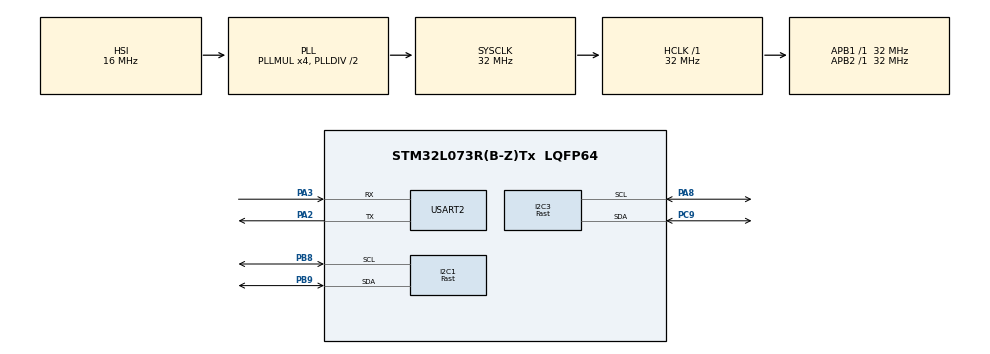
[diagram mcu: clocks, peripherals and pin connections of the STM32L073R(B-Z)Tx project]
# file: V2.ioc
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I2C1.I2C_Speed_Mode=I2C_Fast
I2C1.Timing=0x00300F38
I2C3.I2C_Speed_Mode=I2C_Fast
I2C3.Timing=0x00300F38
Mcu.Family=STM32L0
Mcu.Name=STM32L073R(B-Z)Tx
Mcu.Package=LQFP64
NVIC.TIM6_DAC_IRQn=true\:0\:0\:false\:false\:true\:true\:true\:true
PA13.Mode=Serial_Wire
PA13.Signal=SYS_SWDIO
PA14.Mode=Serial_Wire
PA14.Signal=SYS_SWCLK
PA2.Mode=Asynchronous
PA2.Signal=USART2_TX
PA3.Mode=Asynchronous
PA3.Signal=USART2_RX
PA8.Mode=I2C
PA8.Signal=I2C3_SCL
PB8.Mode=I2C
PB8.Signal=I2C1_SCL
PB9.Mode=I2C
PB9.Signal=I2C1_SDA
PC9.Mode=I2C
PC9.Signal=I2C3_SDA
PH0-OSC_IN.Mode=HSE-External-Oscillator
PH0-OSC_IN.Signal=RCC_OSC_IN
PH1-OSC_OUT.Mode=HSE-External-Oscillator
PH1-OSC_OUT.Signal=RCC_OSC_OUT
ProjectManager.HeapSize=0x200
ProjectManager.StackSize=0x400
ProjectManager.TargetToolchain=MDK-ARM V5.32
RCC.AHBFreq_Value=32000000
RCC.APB1Freq_Value=32000000
RCC.APB1TimFreq_Value=32000000
RCC.APB2Freq_Value=32000000
RCC.APB2TimFreq_Value=32000000
RCC.HCLKFreq_Value=32000000
RCC.HSE_VALUE=8000000
RCC.HSI16_VALUE=16000000
RCC.HSI48_VALUE=48000000
RCC.HSI_VALUE=16000000
RCC.LSE_VALUE=32768
RCC.MSI_VALUE=2097000
RCC.PLLMUL=RCC_PLLMUL_4
RCC.SYSCLKFreq_VALUE=32000000
RCC.SYSCLKSource=RCC_SYSCLKSOURCE_PLLCLK
RCC.VCOOutputFreq_Value=64000000
TIM6.Period=200
TIM6.Prescaler=40000
TIM7.Period=4000
TIM7.Prescaler=40000
USART2.VirtualMode-Asynchronous=VM_ASYNC
VP_TIM6_VS_ClockSourceINT.Mode=Enable_Timer
VP_TIM7_VS_ClockSourceINT.Mode=Enable_Timer
board=NUCLEO-L073RZ

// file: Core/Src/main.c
/* USER CODE BEGIN Header */
/**
  ******************************************************************************
  * @file           : main.c
  * @brief          : Main program body
  ******************************************************************************
  * @attention
  *
  * Copyright (c) 2024 STMicroelectronics.
  * All rights reserved.
  *
  * This software is licensed under terms that can be found in the LICENSE file
  * in the root directory of this software component.
  * If no LICENSE file comes with this software, it is provided AS-IS.
  *
  ******************************************************************************
  */
/* USER CODE END Header */
#include "main.h"
#include <math.h>
/* USER CODE BEGIN Includes */
	#include <stdio.h>
	#include <string.h>
	#include "i2c-lcd.h"
/* USER CODE END Includes */

I2C_HandleTypeDef hi2c1;
I2C_HandleTypeDef hi2c3;
uint8_t uart_tx_buffer[100];
TIM_HandleTypeDef htim6;
TIM_HandleTypeDef htim7;

UART_HandleTypeDef huart2;

/* USER CODE BEGIN PV */
#define UART_TIMEOUT 100
#define adxl_address 0x53<<1
/* USER CODE END PV */

void SystemClock_Config(void);
static void MX_GPIO_Init(void);
static void MX_I2C1_Init(void);
static void MX_TIM6_Init(void);
static void MX_I2C3_Init(void);
static void MX_TIM7_Init(void);
static void MX_USART2_UART_Init(void);
/* USER CODE BEGIN PFP */
//sensoriui
uint8_t data_rec[6];
int16_t x, y, z;
float xg, yg, zg; //konvertavimui is mg/LSB i g

//atvaizdavimui
char x_char[3], y_char[3], z_char[3];

void adxl_write (uint8_t reg, uint8_t value)
{
	uint8_t data [2];
	data[0] = reg;
	data[1] = value;
	HAL_I2C_Master_Transmit (&hi2c1, adxl_address, data, 2, 100);
}

//nuskaitymas
void adxl_read (uint8_t reg)
{
	HAL_I2C_Mem_Read (&hi2c1, adxl_address, reg, 1, (uint8_t *)data_rec, 6, 100);
}

void adxl_init (void)
{
	adxl_read(0x00); //icializavimas:

	adxl_write (0x2d, 0x00); //isvalo visus bitus
	adxl_write (0x2d, 0x08); //matuoja bit-1, wakeup, 0 8hz dazniu

	adxl_write (0x31, 0x01); //+-4g diapazone
}
void send_sensor_data_via_uart(float x_rms, float y_rms, float z_rms)
{
    // Format sensor data into a string
    snprintf((char *)uart_tx_buffer, sizeof(uart_tx_buffer), "X_RMS: %.2f, Y_RMS: %.2f, Z_RMS: %.2f\r\n", x_rms, y_rms, z_rms);

    // Transmit the formatted string via UART
    HAL_UART_Transmit(&huart2, uart_tx_buffer, strlen((char *)uart_tx_buffer), UART_TIMEOUT);
}

/* USER CODE END PFP */

int main(void)
{

  /* MCU Configuration--------------------------------------------------------*/

  /* Reset of all peripherals, Initializes the Flash interface and the Systick. */
  HAL_Init();

  /* Configure the system clock */
  SystemClock_Config();

  /* Initialize all configured peripherals */
  MX_GPIO_Init();
  MX_I2C1_Init();
  MX_TIM6_Init();
  MX_I2C3_Init();
  MX_TIM7_Init();
  MX_USART2_UART_Init();
  /* USER CODE BEGIN 2 */
	adxl_init();
	lcd_init();
	HAL_TIM_Base_Start_IT(&htim6);
	HAL_TIM_Base_Start_IT(&htim7);
  /* USER CODE END 2 */

  /* Infinite loop */
  /* USER CODE BEGIN WHILE */
  while (1)
  {}
	}
    /* USER CODE END WHILE */

    /* USER CODE BEGIN 3 */
		//sensoriaus nuskaitynejimas
 // sensoriaus nuskaitymas
	float x_rms, y_rms, z_rms;
void HAL_TIM_PeriodElapsedCallback(TIM_HandleTypeDef *htim)
{
    if (htim == &htim6) // Laikmacio 6 pertraukimas
    {
        // Sensoriaus nuskaitymas
        adxl_read(0x32);
        x = (data_rec[1] << 8) | data_rec[0];
        y = (data_rec[3] << 8) | data_rec[2];
        z = (data_rec[5] << 8) | data_rec[4];

        // Konvertavimas i g vienetus
        xg = x * 0.0078;
        yg = y * 0.0078;
        zg = z * 0.0078;

        // Skaiciuojame kvadratines vertes
        float x_squared = xg * xg;
        float y_squared = yg * yg;
        float z_squared = zg * zg;

        // Pridedame kvadratines vertes
        x_rms += x_squared;
        y_rms += y_squared;
        z_rms += z_squared;

        // Padidiname ciklu skaitikli
        static uint8_t cycle_count = 0;
        cycle_count++;

        // Jei praejo 30 ciklu (0,1 s * 30 = 3 s)
        if (cycle_count == 30)
        {
            // Apskaiciuojame vidutines kvadratines vertes
            x_rms = sqrt(x_rms / 30);
            y_rms = sqrt(y_rms / 30);
            z_rms = sqrt(z_rms / 30);

            // Atvaizduojame vidutines kvadratines vertes ekrane
            lcd_send_cmd(0x80);
            lcd_send_string("X=");
            lcd_send_float(x_rms, 5);

            lcd_send_cmd(0x89);
            lcd_send_string("Y=");
            lcd_send_float(y_rms, 5);

            lcd_send_cmd(0xc4);
            lcd_send_string("Z=");
            lcd_send_float(z_rms, 5);

						// Siunciame duomenis per UART
            send_sensor_data_via_uart(x_rms, y_rms, z_rms);

            // Išvalome sumas
            x_rms = 0.0;
            y_rms = 0.0;
            z_rms = 0.0;

            // Išvalome ciklu skaitikli
            cycle_count = 0;
					}
    }
}
  /* USER CODE END 3 */

void SystemClock_Config(void)
{
  RCC_OscInitTypeDef RCC_OscInitStruct = {0};
  RCC_ClkInitTypeDef RCC_ClkInitStruct = {0};
  RCC_PeriphCLKInitTypeDef PeriphClkInit = {0};

  /** Configure the main internal regulator output voltage
  */
  __HAL_PWR_VOLTAGESCALING_CONFIG(PWR_REGULATOR_VOLTAGE_SCALE1);

  /** Initializes the RCC Oscillators according to the specified parameters
  * in the RCC_OscInitTypeDef structure.
  */
  RCC_OscInitStruct.OscillatorType = RCC_OSCILLATORTYPE_HSI;
  RCC_OscInitStruct.HSIState = RCC_HSI_ON;
  RCC_OscInitStruct.HSICalibrationValue = RCC_HSICALIBRATION_DEFAULT;
  RCC_OscInitStruct.PLL.PLLState = RCC_PLL_ON;
  RCC_OscInitStruct.PLL.PLLSource = RCC_PLLSOURCE_HSI;
  RCC_OscInitStruct.PLL.PLLMUL = RCC_PLLMUL_4;
  RCC_OscInitStruct.PLL.PLLDIV = RCC_PLLDIV_2;
  if (HAL_RCC_OscConfig(&RCC_OscInitStruct) != HAL_OK)
  {
    Error_Handler();
  }

  /** Initializes the CPU, AHB and APB buses clocks
  */
  RCC_ClkInitStruct.ClockType = RCC_CLOCKTYPE_HCLK|RCC_CLOCKTYPE_SYSCLK
                              |RCC_CLOCKTYPE_PCLK1|RCC_CLOCKTYPE_PCLK2;
  RCC_ClkInitStruct.SYSCLKSource = RCC_SYSCLKSOURCE_PLLCLK;
  RCC_ClkInitStruct.AHBCLKDivider = RCC_SYSCLK_DIV1;
  RCC_ClkInitStruct.APB1CLKDivider = RCC_HCLK_DIV1;
  RCC_ClkInitStruct.APB2CLKDivider = RCC_HCLK_DIV1;

  if (HAL_RCC_ClockConfig(&RCC_ClkInitStruct, FLASH_LATENCY_1) != HAL_OK)
  {
    Error_Handler();
  }
  PeriphClkInit.PeriphClockSelection = RCC_PERIPHCLK_USART2|RCC_PERIPHCLK_I2C1
                              |RCC_PERIPHCLK_I2C3;
  PeriphClkInit.Usart2ClockSelection = RCC_USART2CLKSOURCE_PCLK1;
  PeriphClkInit.I2c1ClockSelection = RCC_I2C1CLKSOURCE_PCLK1;
  PeriphClkInit.I2c3ClockSelection = RCC_I2C3CLKSOURCE_PCLK1;
  if (HAL_RCCEx_PeriphCLKConfig(&PeriphClkInit) != HAL_OK)
  {
    Error_Handler();
  }
}

static void MX_I2C1_Init(void)
{

  hi2c1.Instance = I2C1;
  hi2c1.Init.Timing = 0x00300F38;
  hi2c1.Init.OwnAddress1 = 0;
  hi2c1.Init.AddressingMode = I2C_ADDRESSINGMODE_7BIT;
  hi2c1.Init.DualAddressMode = I2C_DUALADDRESS_DISABLE;
  hi2c1.Init.OwnAddress2 = 0;
  hi2c1.Init.OwnAddress2Masks = I2C_OA2_NOMASK;
  hi2c1.Init.GeneralCallMode = I2C_GENERALCALL_DISABLE;
  hi2c1.Init.NoStretchMode = I2C_NOSTRETCH_DISABLE;
  if (HAL_I2C_Init(&hi2c1) != HAL_OK)
  {
    Error_Handler();
  }

  /** Configure Analogue filter
  */
  if (HAL_I2CEx_ConfigAnalogFilter(&hi2c1, I2C_ANALOGFILTER_ENABLE) != HAL_OK)
  {
    Error_Handler();
  }

  /** Configure Digital filter
  */
  if (HAL_I2CEx_ConfigDigitalFilter(&hi2c1, 0) != HAL_OK)
  {
    Error_Handler();
  }

}

static void MX_I2C3_Init(void)
{

  hi2c3.Instance = I2C3;
  hi2c3.Init.Timing = 0x00300F38;
  hi2c3.Init.OwnAddress1 = 0;
  hi2c3.Init.AddressingMode = I2C_ADDRESSINGMODE_7BIT;
  hi2c3.Init.DualAddressMode = I2C_DUALADDRESS_DISABLE;
  hi2c3.Init.OwnAddress2 = 0;
  hi2c3.Init.OwnAddress2Masks = I2C_OA2_NOMASK;
  hi2c3.Init.GeneralCallMode = I2C_GENERALCALL_DISABLE;
  hi2c3.Init.NoStretchMode = I2C_NOSTRETCH_DISABLE;
  if (HAL_I2C_Init(&hi2c3) != HAL_OK)
  {
    Error_Handler();
  }

  /** Configure Analogue filter
  */
  if (HAL_I2CEx_ConfigAnalogFilter(&hi2c3, I2C_ANALOGFILTER_ENABLE) != HAL_OK)
  {
    Error_Handler();
  }

  /** Configure Digital filter
  */
  if (HAL_I2CEx_ConfigDigitalFilter(&hi2c3, 0) != HAL_OK)
  {
    Error_Handler();
  }

}

static void MX_TIM6_Init(void)
{

  TIM_MasterConfigTypeDef sMasterConfig = {0};

  htim6.Instance = TIM6;
  htim6.Init.Prescaler = 40000;
  htim6.Init.CounterMode = TIM_COUNTERMODE_UP;
  htim6.Init.Period = 80;
  htim6.Init.AutoReloadPreload = TIM_AUTORELOAD_PRELOAD_DISABLE;
  if (HAL_TIM_Base_Init(&htim6) != HAL_OK)
  {
    Error_Handler();
  }
  sMasterConfig.MasterOutputTrigger = TIM_TRGO_RESET;
  sMasterConfig.MasterSlaveMode = TIM_MASTERSLAVEMODE_DISABLE;
  if (HAL_TIMEx_MasterConfigSynchronization(&htim6, &sMasterConfig) != HAL_OK)
  {
    Error_Handler();
  }

}

static void MX_TIM7_Init(void)
{

  TIM_MasterConfigTypeDef sMasterConfig = {0};

  htim7.Instance = TIM7;
  htim7.Init.Prescaler = 40000;
  htim7.Init.CounterMode = TIM_COUNTERMODE_UP;
  htim7.Init.Period = 20;
  htim7.Init.AutoReloadPreload = TIM_AUTORELOAD_PRELOAD_DISABLE;
  if (HAL_TIM_Base_Init(&htim7) != HAL_OK)
  {
    Error_Handler();
  }
  sMasterConfig.MasterOutputTrigger = TIM_TRGO_RESET;
  sMasterConfig.MasterSlaveMode = TIM_MASTERSLAVEMODE_DISABLE;
  if (HAL_TIMEx_MasterConfigSynchronization(&htim7, &sMasterConfig) != HAL_OK)
  {
    Error_Handler();
  }

}

static void MX_USART2_UART_Init(void)
{

  huart2.Instance = USART2;
  huart2.Init.BaudRate = 115200;
  huart2.Init.WordLength = UART_WORDLENGTH_8B;
  huart2.Init.StopBits = UART_STOPBITS_1;
  huart2.Init.Parity = UART_PARITY_NONE;
  huart2.Init.Mode = UART_MODE_TX_RX;
  huart2.Init.HwFlowCtl = UART_HWCONTROL_NONE;
  huart2.Init.OverSampling = UART_OVERSAMPLING_16;
  huart2.Init.OneBitSampling = UART_ONE_BIT_SAMPLE_DISABLE;
  huart2.AdvancedInit.AdvFeatureInit = UART_ADVFEATURE_NO_INIT;
  if (HAL_UART_Init(&huart2) != HAL_OK)
  {
    Error_Handler();
  }

}

static void MX_GPIO_Init(void)
{

  /* GPIO Ports Clock Enable */
  __HAL_RCC_GPIOH_CLK_ENABLE();
  __HAL_RCC_GPIOA_CLK_ENABLE();
  __HAL_RCC_GPIOC_CLK_ENABLE();
  __HAL_RCC_GPIOB_CLK_ENABLE();

}

void Error_Handler(void)
{
  __disable_irq();
  while (1)
  {
  }
}
